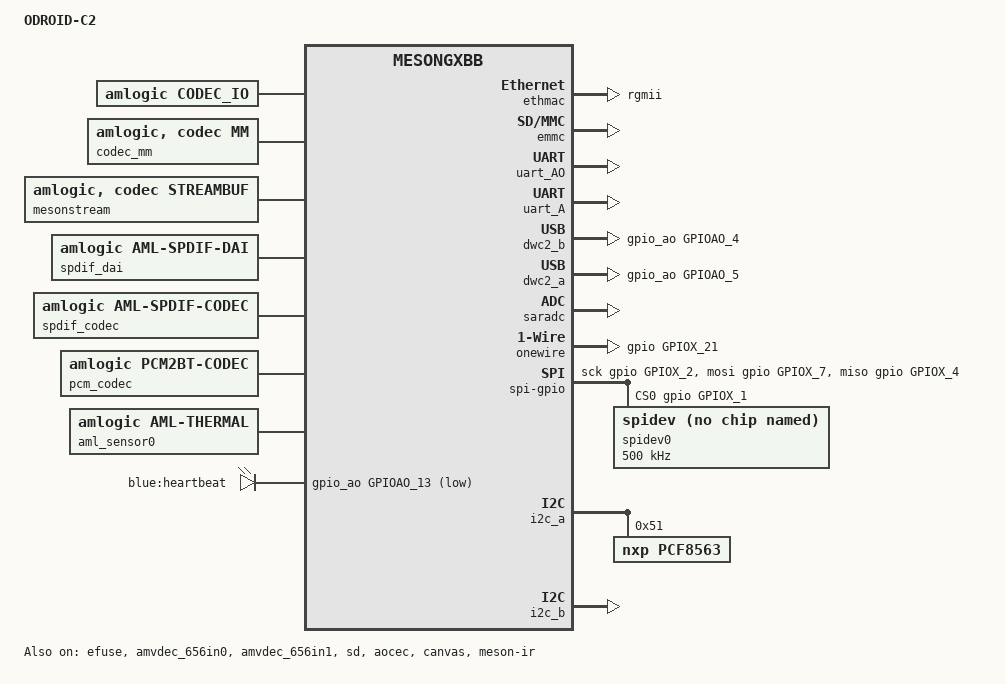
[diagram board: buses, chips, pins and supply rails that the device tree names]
/*
 * AMLogic's S905 based ODROID-C2 board device tree source
 *
 * Copyright (c) 2015 Hardkernel Co., Ltd.
 *                    http://www.hardkernel.com
 *
 * Device tree source file for Hardkernel's ODROID-C2 board based on AMLogic's
 * S905 SoC.
 *
 * This program is free software; you can redistribute it and/or modify
 * it under the terms of the GNU General Public License version 2 as
 * published by the Free Software Foundation.
 */

/dts-v1/;

#include <dt-bindings/interrupt-controller/arm-gic.h>
#include <dt-bindings/clock/gxbb.h>
#include <dt-bindings/gpio/gxbb.h>
#include <dt-bindings/gpio/gpio.h>
#include <dt-bindings/reset/aml_gxbb.h>
#include "amlogic/mesongxbb.dtsi"

/ {
	compatible = "amlogic, Gxbb";
	model = "ODROID-C2";
	interrupt-parent = <&gic>;
	#address-cells = <2>;
	#size-cells = <2>;

	aliases {
		serial0 = &uart_AO;
		serial1 = &uart_A;
	};

	gpu_dvfs_tbl: gpu_dvfs_tbl {
                sc_mpp = <3>;   /* number of pp used most of time.*/
                tbl = <&clk285_cfg
                        &clk400_cfg
                        &clk500_cfg
                        &clk666_cfg
                        &clk800_cfg>;
	};

	memory@00000000 {
                device_type = "memory";
                linux,usable-memory = <0x0 0x1000000 0x0 0x7f000000>;
	};

	reserved-memory {
		#address-cells = <2>;
		#size-cells = <2>;
		ranges;

		/* global autoconfigured region for contiguous allocations */
		secmon_reserved:linux,secmon {
			compatible = "aml_secmon_memory";
			reg = <0x0 0x10000000 0x0 0x200000>;
			no-map;
		};

		fb_reserved:linux,meson-fb {
			compatible = "amlogic, fb-memory";
			size = <0x0 0x8000000>;
			no-map;
		};

		di_reserved:linux,di {
			compatible = "amlogic, di-mem";
			size = <0x0 0x1e00000>; //10x1920x1088x3/2=30M
			//no-map;
			multi-use;
		};

		ion_reserved:linux,ion-dev {
			compatible = "amlogic, idev-mem";
			size = <0x0 0x2000000>;
			multi-use;
		};

		/*  POST PROCESS MANAGER */
		//ppmgr_reserved:linux,ppmgr {
		//	compatible = "amlogic, ppmgr_memory";
		//	size = <0x0 0x2000000>;
		//};

		/* vdec CMA pool */
		codec_mm_cma:linux,codec_mm_cma {
			compatible = "shared-dma-pool";
			reusable;
			size = <0x0 0xbc00000>;
			alignment = <0x0 0x400000>;
			linux,contiguous-region;
		};

		picdec_cma_reserved:linux,picdec {
			compatible = "shared-dma-pool";
			reusable;
			size = <0x0 0x3000000>;
			alignment = <0x0 0x400000>;
			linux,contiguous-region;
		};

		/* codec shared reserved */
		codec_mm_reserved:linux,codec_mm_reserved {
			compatible = "amlogic, codec-mm-reserved";
			size = <0x0 0x4100000>;
			alignment = <0x0 0x100000>;
                        //no-map;
		};
	};

	meson-vout {
		compatible = "amlogic, meson-vout";
		dev_name = "meson-vout";
		status = "okay";
	};

	meson-fb {
		compatible = "amlogic, meson-fb";
		memory-region = <&fb_reserved>;
		dev_name = "meson-fb";
		status = "okay";
                interrupts = <0 3 1
                        0 89 1>;
		interrupt-names = "viu-vsync", "rdma";
		mem_size = <0x06000000 0x00100000>; /* fb0/fb1 memory size */
                vmode = <4>;	/* 720p60hz */
		scale_mode = <1>;
                4k2k_fb = <1>;
		display_size_default = <1280 720 1280 1440 32>;
	};

	ge2d {
		compatible = "amlogic, ge2d";
		dev_name = "ge2d";
		status = "okay";
		interrupts = <0 150 1>;
		interrupt-names = "ge2d";
		clocks = <&clock CLK_VAPB_0>,
			<&clock CLK_GE2D>;
		clock-names = "clk_vapb_0",
				"clk_ge2d";
		resets = <&clock GCLK_IDX_GE2D>;
		reset-names = "ge2d";
	};

	codec_io {
		compatible = "amlogic, codec_io";
		#address-cells=<2>;
		#size-cells=<2>;
		ranges;
		io_cbus_base{
			reg = <0x0 0xC1100000 0x0 0x100000>;
		};
		io_dos_base{
			reg = <0x0 0xc8820000 0x0 0x10000>;
		};
		io_hiubus_base{
			reg = <0x0 0xc883c000 0x0 0x2000>;
		};
		io_aobus_base{
			reg = <0x0 0xc8100000 0x0 0x100000>;
		};
		io_vcbus_base{
			reg = <0x0 0xd0100000 0x0 0x40000>;
		};
		io_dmc_base{
			reg = <0x0 0xc8838000 0x0 0x400>;
		};
	};

        codec_mm {
                compatible = "amlogic, codec, mm";
                memory-region = <&codec_mm_cma &codec_mm_reserved>;
                dev_name = "codec_mm";
                status = "okay";
        };

	ethmac: ethernet@0xc9410000{
                compatible = "amlogic, gxbb-rgmii-dwmac";
                reg = <0x0 0xc9410000 0x0 0x10000
                0x0 0xc8834540 0x0 0x8>;
                interrupts = <0 8 1>;
                phy-mode= "rgmii";
                pinctrl-names = "eth_pins";
                pinctrl-0 = <&eth_pins>;
                rst_pin-gpios = <&gpio GPIOZ_14 0>;
                mc_val = <0x1621>;
                resets = <&clock GCLK_IDX_ETHERNET>;
                reset-names = "ethpower";
                interrupt-names = "macirq";
                clocks = <&clock CLK_81>;
                clock-names = "ethclk81";
        };

	mesonstream {
		compatible = "amlogic, codec, streambuf";
		dev_name = "mesonstream";
		status = "okay";
		resets = <&clock GCLK_IDX_HIU_PARSER_TOP
			&clock GCLK_IDX_VPU_INTR
			&clock GCLK_IDX_DEMUX
			&clock GCLK_IDX_DOS>;
		reset-names = "parser_top",
			"vpu_intr",
			"demux",
			"vdec";
	};

	amvideocap {
		compatible = "amlogic, amvideocap";
		dev_name = "amvideocap.0";
		status = "okay";
	};

	ion_dev {
		compatible = "amlogic, ion_dev";
		memory-region = <&ion_reserved>;
	};

	vdec {
		compatible = "amlogic, vdec";
		dev_name = "vdec.0";
		status = "okay";
		interrupts = <0 3 1
			0 23 1
			0 32 1
			0 43 1
			0 44 1
			0 45 1>;
		interrupt-names = "vsync",
			"demux",
			"parser",
			"mailbox_0",
			"mailbox_1",
			"mailbox_2";
	};

	picdec {
		   compatible = "amlogic, picdec";
		   memory-region = <&picdec_cma_reserved>;
		   dev_name = "picdec";
		   status = "okay";
	};

	ppmgr {
		compatible = "amlogic, ppmgr";
		memory-region = <&ion_reserved>;
		dev_name = "ppmgr";
		status = "okay";
	};

	deinterlace {
		compatible = "amlogic, deinterlace";
		status = "okay";
		memory-region = <&di_reserved>;
		interrupts = <0 46 1
				0 6 1>;
		interrupt-names = "de_irq",
				"timerc";
		buffer-size = <3133440>;	//1920x1088x3/2
		hw-version = <2>;
	};

	amvdec_656in0 {
		compatible = "amlogic, amvdec_656in";
		dev_name = "amvdec_656in0";
		status = "ok";
		reg = <0x0 0xd0048000 0x0 0x7c>;
		clocks = <&clock CLK_FPLL_DIV2>,
			<&clock CLK_BT656_CLK0>;
		clock-names = "fclk_div2", "cts_bt656_clk0";
		bt656_id = <0>;
	};

	amvdec_656in1 {
		compatible = "amlogic, amvdec_656in";
		dev_name = "amvdec_656in1";
		status = "ok";
		reg = <0x0 0xd0050000 0x0 0x7c>;
		clocks = <&clock CLK_FPLL_DIV2>,
			<&clock CLK_BT656_CLK1>;
		clock-names = "fclk_div2", "cts_bt656_clk1";
		bt656_id = <1>;
	};

	amvenc_avc{
		compatible = "amlogic, amvenc_avc";
		//memory-region = <&amvenc_avc_reserved>;
		dev_name = "amvenc_avc";
		status = "okay";
		interrupts = <0 45 1>;
		interrupt-names = "mailbox_2";
	};

	vpu {
		compatible = "amlogic, vpu";
		dev_name = "vpu";
		status = "ok";
		clk_level = <7>;
		/**	0: 100.0M    1: 166.7M    2: 200.0M
			3: 250.0M    4: 333.3M    5: 400.0M
			6: 500.0M    7: 666.7M */
	};

        sd {
                compatible = "amlogic, aml_sd_emmc";
                dev_name = "aml_newsd.0";
                status = "okay";
                reg = <0x0 0xd0072000 0x0 0x2000>;
                interrupts = <0 217 1
                        0 67 1
                        0 69 1>;
                pinctrl-names = "sd_clk_cmd_pins", "sd_all_pins";
                pinctrl-0 = <&sd_clk_cmd_pins>;
                pinctrl-1 = <&sd_all_pins>;
                sd {
                        status = "okay";
                        pinname = "sd";
                        ocr_avail = <0x00200080>;
                        caps = "MMC_CAP_4_BIT_DATA",
                             "MMC_CAP_MMC_HIGHSPEED",
                             "MMC_CAP_SD_HIGHSPEED",
                             "MMC_CAP_UHS_SDR50",
                             "MMC_CAP_UHS_SDR104";
                        f_min = <400000>;
                        f_max = <85000000>;
                        max_req_size = <0x20000>; /**128KB*/
                        gpio_dat3 = <&gpio CARD_4 GPIO_ACTIVE_HIGH>;
                        jtag_pin = <&gpio CARD_0 GPIO_ACTIVE_HIGH>;
                        gpio_cd = <&gpio CARD_6 GPIO_ACTIVE_HIGH>;
                        gpio_volsw = <&gpio_ao GPIOAO_3 GPIO_ACTIVE_LOW>;
                        gpio_power = <&gpio GPIOY_12 GPIO_ACTIVE_HIGH>;
                        power_level = <1>;
                        irq_in = <3>;
                        irq_out = <5>;
                        card_type = <5>;
                };
        };

        emmc {
                compatible = "amlogic, aml_sd_emmc";
                dev_name = "aml_newsd.0";
                status = "okay";
                reg = <0x0 0xd0074000 0x0 0x2000>;
                interrupts = <0 218 1>;
                pinctrl-names = "emmc_clk_cmd_pins", "emmc_all_pins";
                pinctrl-0 = <&emmc_clk_cmd_pins>;
                pinctrl-1 = <&emmc_all_pins>;
                emmc {
                        status = "okay";
                        pinname = "emmc";
                        ocr_avail = <0x200080>;
                        caps = "MMC_CAP_8_BIT_DATA",
                             "MMC_CAP_MMC_HIGHSPEED",
                             "MMC_CAP_SD_HIGHSPEED",
                             "MMC_CAP_NONREMOVABLE",
                             "MMC_CAP_1_8V_DDR",
                             "MMC_CAP_HW_RESET",
                             "MMC_CAP_ERASE";
                        caps2 = "MMC_CAP2_HS200_1_8V_SDR",
                              "MMC_CAP2_HS400_1_8V",
                              "MMC_CAP2_BROKEN_VOLTAGE",
                              "MMC_CAP2_BOOTPART_NOACC";
                        f_min = <400000>;
                        f_max = <100000000>;
                        max_req_size = <0x20000>; /**256KB*/
                        gpio_dat3 = <&gpio BOOT_3 GPIO_ACTIVE_HIGH>;
                        hw_reset =  <&gpio BOOT_9 GPIO_ACTIVE_HIGH>;
                        card_type = <1>;
                };
        };

	amhdmitx: amhdmitx{
		compatible = "amlogic, amhdmitx";
		dev_name = "amhdmitx";
		status = "okay";
		pinctrl-names="hdmitx_hpd", "hdmitx_ddc";
		pinctrl-0=<&hdmitx_hpd>;
		pinctrl-1=<&hdmitx_ddc>;
		vend-data = <&vend_data>;
		/* HPD, 57 + 32 = 89; CEC, 151 + 32 = 183*/
		interrupts = <0 57 1>;
		interrupt-names = "hdmitx_hpd";
                clocks = <&clock CLK_HDMITX_SYS
                        &clock CLK_HDMITX_ENCP
                        &clock CLK_HDMITX_ENCI
                        &clock CLK_HDMITX_PIXEL
                        &clock CLK_HDMITX_PHY
                        &clock CLK_VID>;
                clock-names = "hdmitx_clk_sys",
                        "hdmitx_clk_encp",
                        "hdmitx_clk_enci",
                        "hdmitx_clk_pixel",
                        "hdmitx_clk_phy",
                        "hdmitx_clk_vid";

		vend_data: vend_data {
			compatible = "amlogic, amlogic-cec";
			status = "okay";
			vendor_name = "Hardkernel";
			vendor_id = <0x000000>;
			product_desc = "ODROID-C2";
			cec_osd_string = "ODROID-C2";
			interrupts = <0 199 1>;
			interrupt-names = "hdmitx_cec";
			pinctrl-names = "hdmitx_aocec";
			pinctrl-0 = <&hdmitx_aocec>;
		};
	};

	aocec: aocec{
		compatible = "amlogic, amlogic-aocec";
		device_name = "aocec";
		status = "okay";
		vendor_name = "Hardkernel"; /* Max Chars: 8     */
		vendor_id = <0x000000>; /* Refer to http://standards.ieee.org/develop/regauth/oui/oui.txt   */
		product_desc = "ODROID-C2"; /* Max Chars: 16    */
		cec_osd_string = "ODROID-C2"; /* Max Chars: 14    */
		port_num = <3>;
		arc_port_mask = <0x0>;
		interrupts = <0 199 1>;
		interrupt-names = "hdmi_aocec";
		pinctrl-names = "hdmitx_aocec";
		pinctrl-0=<&hdmitx_aocec>;
		reg = <0x0 0xc810023c 0x0 0x4
		       0x0 0xc8100000 0x0 0x200
		       0x0 0xda83e000 0x0 0x10>;
	};

	uart_AO: serial@c81004c0 {
		compatible = "amlogic, meson-uart";
		reg = <0x0 0xc81004c0 0x0 0x14>;
		interrupts = <0 193 1>;
		status = "okay";
		clocks = <&clock CLK_XTAL>;
		clock-names = "clk_uart";
		fifosize = < 64 >;
		pinctrl-names = "default";
		pinctrl-0 = <&ao_uart_pins>;
	};

	uart_A: serial@c11084c0 {
		compatible = "amlogic, meson-uart";
		reg = <0x0 0xc11084c0 0x0 0x14>;
		interrupts = <0 26 1>;
		status = "okay";
		clocks = <&clock CLK_XTAL>;
		clock-names = "clk_uart";
		fifosize = < 128 >;
		pinctrl-names = "default";
		pinctrl-0 = <&a_uart_pins>;
	};

	canvas {
		compatible = "amlogic, meson, canvas";
		dev_name = "amlogic-canvas";
		status = "ok";
		reg = <0x0 0xc8838000 0x0 0x400>;
	};

	rdma {
		compatible = "amlogic, meson, rdma";
		dev_name = "amlogic-rdma";
		status = "ok";
		interrupts = <0 89 1>;
		interrupt-names = "rdma";
	};

	dwc2_b {
		compatible = "amlogic,dwc2";
		reg = <0x0 0xc9100000 0x0 0x40000>;
		interrupts = <0 31 4>;
		status = "okay";
		pl-periph-id = <1>;
		clock-src = "usb1";
		port-id = <1>;
		port-type = <1>;
		port-speed = <0>;
		port-config = <0>;
		port-dma = <0>;
		port-id-mode = <1>;
		gpio-hub-rst = "GPIOAO_4";
		gpios = <&gpio_ao GPIOAO_4 GPIO_ACTIVE_HIGH>;
		phy-reg = <0xc0000020>;
		phy-reg-size = <0x20>;
		usb-fifo = <1024>;
		host-only-core = <1>;
		pmu-apply-power = <1>;
		cpu-type = "gxbaby";
                resets = <&clock GCLK_IDX_USB_GENERAL
                        &clock GCLK_IDX_MISC_USB1_TO_DDR
                        &clock GCLK_IDX_USB1>;
                reset-names = "usb_general",
                        "usb1",
                        "usb1_to_ddr";
	};

	odroid_sysfs {
		compatible = "odroid-sysfs";
	};

	dwc2_a {
		compatible = "amlogic,dwc2";
		reg = <0x0 0xc9000000 0x0 0x40000>;
		interrupts = <0 30 4>;
		status = "okay";
		pl-periph-id = <0>;
		clock-src = "usb0";
		port-id = <0>;
		port-type = <0>;
		port-speed = <0>;
		port-config = <0>;
		port-dma = <0>;
		port-id-mode = <0>;
		gpio-vbus-power = "GPIOAO_5";
		gpios = <&gpio_ao GPIOAO_5 GPIO_ACTIVE_HIGH>;
		gpio-work-mask	= <1>;
		phy-reg = <0xc0000000>;
		phy-reg-size = <0x20>;
		usb-fifo = <1024>;
		cpu-type = "gxbaby";
                resets = <&clock GCLK_IDX_USB_GENERAL
                        &clock GCLK_IDX_MISC_USB0_TO_DDR
                        &clock GCLK_IDX_USB0>;
                reset-names = "usb_general",
                        "usb0",
                        "usb0_to_ddr";
	};

	i2s_dai: I2S {
                compatible = "amlogic, aml-i2s-dai";
                #sound-dai-cells = <0>;
                resets = <&clock GCLK_IDX_AIU_AI_TOP_GLUE
                        &clock GCLK_IDX_AUD_BUF_ABD
                        &clock GCLK_IDX_AIU_I2S_OUT
                        &clock GCLK_IDX_AIU_AMCLK_MEASURE
                        &clock GCLK_IDX_AIU_AIFIFO2
                        &clock GCLK_IDX_AIU_AUD_MIXER
                        &clock GCLK_IDX_AIU_MIXER_REG
                        &clock GCLK_IDX_AIU_ADC
                        &clock GCLK_IDX_AIU_TOP_LEVEL
                        &clock GCLK_IDX_AIU_AOCLK
                        &clock GCLK_IDX_AUD_IN>;
                reset-names = "top_glue",
			"aud_buf",
			"i2s_out",
			"amclk_measure",
			"aififo2",
			"aud_mixer",
			"mixer_reg",
			"adc",
			"top_level",
			"aoclk",
			"aud_in";
		clocks = <&clock CLK_MPLL0>,
			<&clock CLK_AMCLK>;
                clock-names = "mpll0",
                        "mclk";
	};

	i2s_plat: i2s_platform {
		compatible = "amlogic, aml-i2s";
	};

	spdif_dai: SPDIF {
		compatible = "amlogic, aml-spdif-dai";
		#sound-dai-cells = <0>;
                resets = <&clock GCLK_IDX_AIU_IEC958
                        &clock GCLK_IDX_AIU_ICE958_AMCLK>;
                reset-names = "iec958",
                        "iec958_amclk";
                clocks = <&clock CLK_MPLL1>,
                       <&clock CLK_I958>,
                       <&clock CLK_AMCLK>,
                       <&clock CLK_SPDIF>;
                clock-names = "mpll1",
                        "i958",
                        "mclk",
                        "spdif";
	};

	spdif_codec: spdif_codec{
		#sound-dai-cells = <0>;
		compatible = "amlogic, aml-spdif-codec";
		pinctrl-names = "aml_audio_spdif";
		pinctrl-0 = <&audio_spdif_pins>;
	};

	pcm_dai: PCM {
		#sound-dai-cells = <0>;
		compatible = "amlogic, aml-pcm-dai";
	};

	pcm_plat: pcm_platform {
		compatible = "amlogic, aml-pcm";
	};

	pcm_codec: pcm_codec{
		#sound-dai-cells = <0>;
		compatible = "amlogic, pcm2BT-codec";
	};

	/* AUDIO board specific */
	dummy_codec:dummy{
		#sound-dai-cells = <0>;
		compatible = "amlogic, aml_dummy_codec";
		status = "okay";
	};

	pcm5102_codec:pcm5102{
		#sound-dai-cells = <0>;
		compatible = "hardkernel, pcm5102";
		status = "okay";
	};

	odroid_hdmi {
		compatible = "sound_card, odroid_hdmi";
		status = "okay";
		aml-sound-card,format = "i2s";
		aml_sound_card,name = "ODROID-HDMI";
		cpu_list = <&i2sdai0>;
		codec_list = <&dit0>;
		plat_list = <&i2s_plat>;
		i2sdai0: i2sdai0 {
			sound-dai = <&i2s_dai>;
		};
		dit0: dit0 {
			sound-dai = <&spdif_codec>;
		};
	};
	odroid_dac {
		compatible = "sound_card, odroid_dac";
		status = "okay";
		aml-sound-card,format = "i2s";
		aml_sound_card,name = "ODROID-DAC";
		pinctrl-names = "aml_snd_i2s";
		pinctrl-0 = <&audio_pins>;
		cpu_list = <&cpudai0>;
		codec_list = <&codec0>;
		plat_list = <&i2s_plat>;
		cpudai0: cpudai0 {
			sound-dai = <&i2s_dai>;
		};
		codec0: codec0 {
			sound-dai = <&pcm5102_codec>;
		};
	};
	/* END OF AUDIO board specific */

	aml_sensor0: aml-sensor@0 {
		compatible = "amlogic, aml-thermal";
		#thermal-sensor-cells = <1>;
		cpu_dyn_coeff = <140>;
		/* cpu_freq gpu_freq cpu_core gpu_core */
		min_state = <500000 400 1 2>;
		gpu_dyn_coeff = <437>;
	};
	cpucore:thermal_cpu_cores {
		#cooling-cells = <2>; /* min followed by max */
	};
	thermal-zones {
		soc_thermal {
			polling-delay = <1000>;
			polling-delay-passive = <100>;
			sustainable-power = <3600>;

			thermal-sensors = <&aml_sensor0 3>;

			trips {
				warm: trip-point@0 {
					temperature = <90000>;
					hysteresis = <1000>;
					type = "passive";
				};
				control: trip-point@1 {
					temperature = <100000>;
					hysteresis = <1000>;
					type = "passive";
				};
				hot: trip-point@2 {
					temperature = <110000>;
					hysteresis = <1000>;
					type = "passive";
				};
				critical: trip-point@3 {
					temperature = <115000>;
					hysteresis = <1000>;
					type = "critical";
				};
			};
 			cooling-maps {
				cpufreq_cooling_map0 {
					trip = <&control>;
					cooling-device = <&cpus 0 2>;
					contribution = <100>;
				};
				cpufreq_cooling_map1 {
					trip = <&hot>;
					cooling-device = <&cpus 3 5>;
					contribution = <100>;
				};

				cpucore_cooling_map {
					trip = <&control>;
					cooling-device = <&cpucore 0 3>;
					contribution = <1024>;
				};
				gpufreq_cooling_map {
					trip = <&control>;
					cooling-device = <&gpu 0 4>;
					contribution = <1024>;
				};
			};
		};
	};

	saradc: saradc {
		compatible = "amlogic, saradc";
		status = "okay";
		interrupts = <0 9 1>;
		interrupt-names = "saradc_int";
		clocks = <&clock CLK_XTAL>;
		clock-names = "saradc_clk";
                reg = <0x0 0xc1108680 0x0 0x30
                        0x0 0xc883c3d8 0x0 0x08>;
	};

        leds: gpio_leds {
                compatible = "gpio-leds";

		pinctrl-names = "led_pins";
		pinctrl-0 = <&led_pins>;

                /* Blue LED */
                heartbeat {
                        label = "blue:heartbeat";
                        gpios = <&gpio_ao GPIOAO_13 GPIO_ACTIVE_LOW>;
                        linux,default-trigger = "heartbeat";
                };
        };

	onewire: onewire {
		compatible = "w1-gpio";
		gpios = <&gpio GPIOX_21 0>;
	};

	pwm{
		compatible = "amlogic, odroid-pwm";
		dev_name = "meson_pwm";
		status = "ok";
		pinctrl-names = "odroid_pwm0","odroid_pwm1";
		pinctrl-0 = <&odroid_pwm0>;
		pinctrl-1 = <&odroid_pwm1>;
	};

	pwm-ctrl {
		compatible = "amlogic, pwm-ctrl";
		dev_name = "pwm-ctrl";
		status = "ok";
	};

	spi-gpio {
		compatible = "spi-gpio";
		#address-cells = <1>;
		#size-cells = <0>;
		status = "ok";
		id = <0>;
		gpio-sck  = <&gpio GPIOX_2 0>;
		gpio-miso = <&gpio GPIOX_4 0>;
		gpio-mosi = <&gpio GPIOX_7 0>;
		cs-gpios  = <&gpio GPIOX_1 0
			     &gpio GPIOY_14 0>;
		num-chipselects = <2>;

		/* clients */
		spidev0: spi-gpio@0 {
			compatible = "spidev";
			reg = <0>;
			spi-max-frequency = <500000>;
		};
	};

	meson-ir {
                compatible = "amlogic, meson6-ir";
                reg = <0x0 0xc8100580 0x0 0x20>;
                interrupts = <0 196 1>;
                pinctrl-names = "default";
                pinctrl-0 = <&remote_pins>;
                pulse-inverted;
                status = "ok";
        };

};

&i2c_a {
	status = "okay";

	/* Hardkernel I2C RTC */
	pcf8563: pcf8563@51	{
		compatible = "nxp,pcf8563";
		reg = <0x51>;
		#clock-cells = <0>;
	};
};

&i2c_b {
	status = "okay";
};

&pinmux {
        audio_pins:audio_pin{
                amlogic,setmask = <AO 0x78000000>;
                amlogic,clrmask = <AO 0x40000>;
                amlogic,pins = "GPIOAO_8",
                        "GPIOAO_9",
                        "GPIOAO_10",
                        "GPIOAO_11";
        };

        audio_spdif_pins:audio_pin1{
                amlogic,setmask = <AO 0x10000>;
                amlogic,clrmask = <AO 0x40000>;
                amlogic,pins = "GPIOAO_6";
        };

        led_pins: led_pin {
                amlogic,setmask = <AO 0x00000>;
                amlogic,clrmask = <AO 0x80000018>;
                amlogic,pins = "GPIOAO_13";
        };

	odroid_pwm0: odroid_pwm0 {
		amlogic,setmask=<3 0x00020000>;
		amlogic,clrmask=<3 0x00000200>;
		amlogic,pins="GPIOX_6";
	};
	odroid_pwm1: odroid_pwm1 {
		amlogic,setmask=<3 0x00020000
		                 3 0x00060000>;
		amlogic,clrmask=<3 0x00000300
		                 8 0x00000800>;
		amlogic,pins="GPIOX_6","GPIOX_7";
	};
};

&efuse {
	status = "okay";
};
